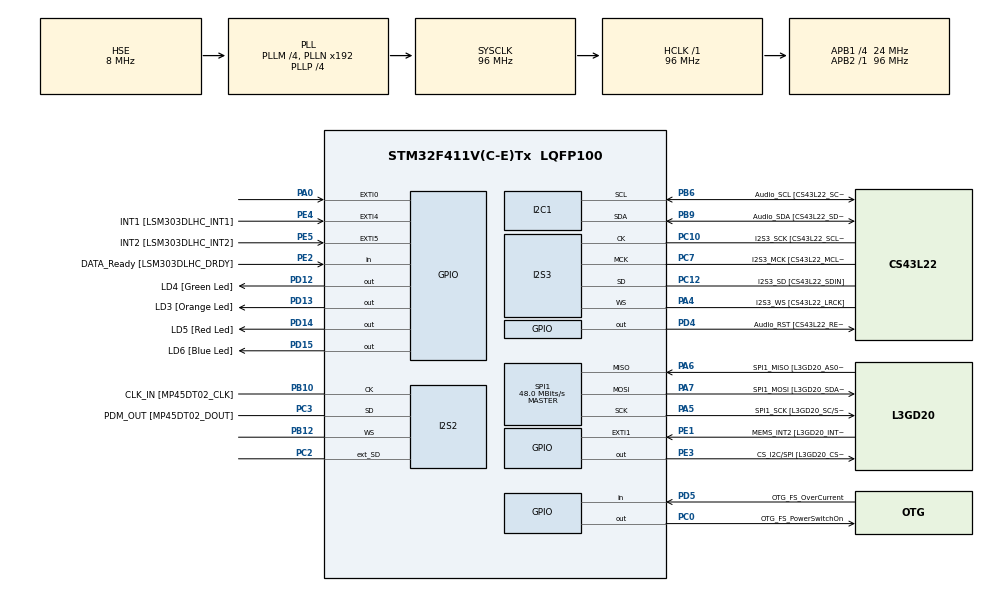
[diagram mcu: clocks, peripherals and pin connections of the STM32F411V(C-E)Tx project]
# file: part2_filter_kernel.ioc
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I2S2.AudioFreq=I2S_AUDIOFREQ_96K
I2S2.ErrorAudioFreq=0.15 %
I2S2.FullDuplexMode=I2S_FULLDUPLEXMODE_ENABLE
I2S2.Instance=SPI$Index
I2S2.RealAudioFreq=96.153 KHz
I2S2.VirtualMode=I2S_MODE_MASTER
I2S3.AudioFreq=I2S_AUDIOFREQ_96K
I2S3.ErrorAudioFreq=-6.99 %
I2S3.FullDuplexMode=I2S_FULLDUPLEXMODE_DISABLE
I2S3.Instance=SPI$Index
I2S3.RealAudioFreq=89.285 KHz
I2S3.VirtualMode=I2S_MODE_MASTER
Mcu.Family=STM32F4
Mcu.Name=STM32F411V(C-E)Tx
Mcu.Package=LQFP100
NVIC.PriorityGroup=NVIC_PRIORITYGROUP_0
PA0-WKUP.GPIO_ModeDefaultEXTI=GPIO_MODE_EVT_RISING
PA0-WKUP.Signal=GPXTI0
PA10.GPIO_Label=OTG_FS_ID
PA10.Signal=USB_OTG_FS_ID
PA11.GPIO_Label=OTG_FS_DM
PA11.Signal=USB_OTG_FS_DM
PA12.GPIO_Label=OTG_FS_DP
PA12.Signal=USB_OTG_FS_DP
PA13.GPIO_Label=SWDIO
PA13.Mode=Serial_Wire
PA13.Signal=SYS_JTMS-SWDIO
PA14.GPIO_Label=SWCLK
PA14.Mode=Serial_Wire
PA14.Signal=SYS_JTCK-SWCLK
PA4.GPIO_Label=I2S3_WS [CS43L22_LRCK]
PA4.GPIO_Mode=GPIO_MODE_AF_PP
PA4.GPIO_PuPd=GPIO_NOPULL
PA4.GPIO_Speed=GPIO_SPEED_FREQ_LOW
PA4.Mode=Half_Duplex_Master
PA4.Signal=I2S3_WS
PA5.GPIO_Label=SPI1_SCK [L3GD20_SC/SPC]
PA5.Mode=Full_Duplex_Master
PA5.Signal=SPI1_SCK
PA6.GPIO_Label=SPI1_MISO [L3GD20_AS0/SDO]
PA6.Mode=Full_Duplex_Master
PA6.Signal=SPI1_MISO
PA7.GPIO_Label=SPI1_MOSI [L3GD20_SDA/SDI/SDO]
PA7.Mode=Full_Duplex_Master
PA7.Signal=SPI1_MOSI
PA9.GPIO_Label=VBUS_FS
PA9.Signal=USB_OTG_FS_VBUS
PB10.GPIO_Label=CLK_IN [MP45DT02_CLK]
PB10.Mode=Full_Duplex_Master
PB10.Signal=I2S2_CK
PB12.Mode=Full_Duplex_Master
PB12.Signal=I2S2_WS
PB3.GPIO_Label=SWO
PB3.Signal=SYS_JTDO-SWO
PB6.GPIO_Label=Audio_SCL [CS43L22_SCL]
PB6.GPIO_Mode=GPIO_MODE_AF_OD
PB6.GPIO_Pu=GPIO_PULLUP
PB6.GPIO_PuPd=GPIO_NOPULL
PB6.GPIO_Speed=GPIO_SPEED_FREQ_LOW
PB6.Mode=I2C
PB6.Signal=I2C1_SCL
PB9.GPIO_Label=Audio_SDA [CS43L22_SDA]
PB9.GPIO_Mode=GPIO_MODE_AF_OD
PB9.GPIO_Pu=GPIO_PULLUP
PB9.GPIO_PuPd=GPIO_NOPULL
PB9.GPIO_Speed=GPIO_SPEED_FREQ_LOW
PB9.Mode=I2C
PB9.Signal=I2C1_SDA
PC0.GPIO_Label=OTG_FS_PowerSwitchOn
PC0.PinState=GPIO_PIN_SET
PC0.Signal=GPIO_Output
PC10.GPIO_Label=I2S3_SCK [CS43L22_SCLK]
PC10.GPIO_Mode=GPIO_MODE_AF_PP
PC10.GPIO_PuPd=GPIO_NOPULL
PC10.GPIO_Speed=GPIO_SPEED_FREQ_LOW
PC10.Mode=Half_Duplex_Master
PC10.Signal=I2S3_CK
PC12.GPIO_Label=I2S3_SD [CS43L22_SDIN]
PC12.GPIO_Mode=GPIO_MODE_AF_PP
PC12.GPIO_PuPd=GPIO_NOPULL
PC12.GPIO_Speed=GPIO_SPEED_FREQ_LOW
PC12.Mode=Half_Duplex_Master
PC12.Signal=I2S3_SD
PC14-OSC32_IN.GPIO_Label=PC14-OSC32_IN
PC14-OSC32_IN.Mode=LSE-External-Oscillator
PC14-OSC32_IN.Signal=RCC_OSC32_IN
PC15-OSC32_OUT.GPIO_Label=PC15-OSC32_OUT
PC15-OSC32_OUT.Mode=LSE-External-Oscillator
PC15-OSC32_OUT.Signal=RCC_OSC32_OUT
PC2.Mode=Full_Duplex_Master
PC2.Signal=I2S2_ext_SD
PC3.GPIO_Label=PDM_OUT [MP45DT02_DOUT]
PC3.Mode=Full_Duplex_Master
PC3.Signal=I2S2_SD
PC7.GPIO_Label=I2S3_MCK [CS43L22_MCLK]
PC7.GPIO_Mode=GPIO_MODE_AF_PP
PC7.GPIO_PuPd=GPIO_NOPULL
PC7.GPIO_Speed=GPIO_SPEED_FREQ_LOW
PC7.Mode=Master_Clock_Activated
PC7.Signal=I2S3_MCK
PD12.GPIO_Label=LD4 [Green Led]
PD12.GPIO_PuPd=GPIO_NOPULL
PD12.GPIO_Speed=GPIO_SPEED_FREQ_LOW
PD12.Signal=GPIO_Output
PD13.GPIO_Label=LD3 [Orange Led]
PD13.GPIO_PuPd=GPIO_NOPULL
PD13.GPIO_Speed=GPIO_SPEED_FREQ_LOW
PD13.Signal=GPIO_Output
PD14.GPIO_Label=LD5 [Red Led]
PD14.GPIO_PuPd=GPIO_NOPULL
PD14.GPIO_Speed=GPIO_SPEED_FREQ_LOW
PD14.Signal=GPIO_Output
PD15.GPIO_Label=LD6 [Blue Led]
PD15.GPIO_PuPd=GPIO_NOPULL
PD15.GPIO_Speed=GPIO_SPEED_FREQ_LOW
PD15.Signal=GPIO_Output
PD4.GPIO_Label=Audio_RST [CS43L22_RESET]
PD4.Signal=GPIO_Output
PD5.GPIO_Label=OTG_FS_OverCurrent
PD5.Signal=GPIO_Input
PE1.GPIO_Label=MEMS_INT2 [L3GD20_INT2]
PE1.GPIO_ModeDefaultEXTI=GPIO_MODE_EVT_RISING
PE1.Signal=GPXTI1
PE2.GPIO_Label=DATA_Ready [LSM303DLHC_DRDY]
PE2.Signal=GPIO_Input
PE3.GPIO_Label=CS_I2C/SPI [L3GD20_CS_I2C/SPI]
PE3.Signal=GPIO_Output
PE4.GPIO_Label=INT1 [LSM303DLHC_INT1]
PE4.GPIO_ModeDefaultEXTI=GPIO_MODE_EVT_RISING
PE4.Signal=GPXTI4
PE5.GPIO_Label=INT2 [LSM303DLHC_INT2]
PE5.GPIO_ModeDefaultEXTI=GPIO_MODE_EVT_RISING
PE5.Signal=GPXTI5
PH0\ -\ OSC_IN.GPIO_Label=PH0-OSC_IN
PH0\ -\ OSC_IN.Mode=HSE-External-Oscillator
PH0\ -\ OSC_IN.Signal=RCC_OSC_IN
PH1\ -\ OSC_OUT.GPIO_Label=PH1-OSC_OUT
PH1\ -\ OSC_OUT.Mode=HSE-External-Oscillator
PH1\ -\ OSC_OUT.Signal=RCC_OSC_OUT
ProjectManager.HeapSize=0x200
ProjectManager.StackSize=0x400
ProjectManager.TargetToolchain=STM32CubeIDE
RCC.48MHZClocksFreq_Value=48000000
RCC.AHBFreq_Value=96000000
RCC.APB1CLKDivider=RCC_HCLK_DIV4
RCC.APB1Freq_Value=24000000
RCC.APB1TimFreq_Value=48000000
RCC.APB2Freq_Value=96000000
RCC.APB2TimFreq_Value=96000000
RCC.CortexFreq_Value=96000000
RCC.HCLKFreq_Value=96000000
RCC.HSE_VALUE=8000000
RCC.HSI_VALUE=16000000
RCC.PLLI2SM=5
RCC.PLLI2SN=200
RCC.PLLM=4
RCC.PLLP=RCC_PLLP_DIV4
RCC.PLLQ=8
RCC.PLLSourceVirtual=RCC_PLLSOURCE_HSE
RCC.SYSCLKFreq_VALUE=96000000
RCC.SYSCLKSource=RCC_SYSCLKSOURCE_PLLCLK
RCC.VCOOutputFreq_Value=384000000
SPI1.BaudRatePrescaler=SPI_BAUDRATEPRESCALER_2
SPI1.CalculateBaudRate=48.0 MBits/s
SPI1.Direction=SPI_DIRECTION_2LINES
SPI1.Mode=SPI_MODE_MASTER
SPI1.VirtualType=VM_MASTER
board=STM32F411E-DISCO

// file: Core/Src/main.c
/* USER CODE BEGIN Header */
/**
  ******************************************************************************
  * @file           : main.c
  * @brief          : Main program body
  ******************************************************************************
  * @attention
  *
  * Copyright (c) 2025 STMicroelectronics.
  * All rights reserved.
  *
  * This software is licensed under terms that can be found in the LICENSE file
  * in the root directory of this software component.
  * If no LICENSE file comes with this software, it is provided AS-IS.
  *
  ******************************************************************************
  */
/* USER CODE END Header */
#include "main.h"
#include "usb_host.h"

/* USER CODE BEGIN PD */
#define OPTIMIZED 1
/* USER CODE END PD */

I2C_HandleTypeDef hi2c1;

I2S_HandleTypeDef hi2s2;
I2S_HandleTypeDef hi2s3;

SPI_HandleTypeDef hspi1;

/* USER CODE BEGIN PV */
volatile int8_t *raw_data = 0x802002C;
int8_t kernel[3][3] = {
  { 0, -1, 0 },
  { -1, 5, -1 },
  { 0, -1, 0 }
};
/* USER CODE END PV */

void SystemClock_Config(void);
void PeriphCommonClock_Config(void);
static void MX_GPIO_Init(void);
static void MX_I2C1_Init(void);
static void MX_I2S2_Init(void);
static void MX_I2S3_Init(void);
static void MX_SPI1_Init(void);
void MX_USB_HOST_Process(void);

/* USER CODE BEGIN PFP */
void image_filter();
void optimized_image_filter();
/* USER CODE END PFP */

int main(void)
{

  /* MCU Configuration--------------------------------------------------------*/

  /* Reset of all peripherals, Initializes the Flash interface and the Systick. */
  HAL_Init();

  /* Configure the system clock */
  SystemClock_Config();

  /* Configure the peripherals common clocks */
  PeriphCommonClock_Config();

  /* Initialize all configured peripherals */
  MX_GPIO_Init();
  MX_I2C1_Init();
  MX_I2S2_Init();
  MX_I2S3_Init();
  MX_SPI1_Init();
  MX_USB_HOST_Init();
  /* USER CODE BEGIN 2 */
  #ifdef OPTIMIZED
  optimized_image_filter();
  #endif

  #ifndef
  image_filter();
  #endif
  /* USER CODE END 2 */

  /* Infinite loop */
  while (1)
  {
    MX_USB_HOST_Process();

  }
}

void SystemClock_Config(void)
{
  RCC_OscInitTypeDef RCC_OscInitStruct = {0};
  RCC_ClkInitTypeDef RCC_ClkInitStruct = {0};

  /** Configure the main internal regulator output voltage
  */
  __HAL_RCC_PWR_CLK_ENABLE();
  __HAL_PWR_VOLTAGESCALING_CONFIG(PWR_REGULATOR_VOLTAGE_SCALE1);

  /** Initializes the RCC Oscillators according to the specified parameters
  * in the RCC_OscInitTypeDef structure.
  */
  RCC_OscInitStruct.OscillatorType = RCC_OSCILLATORTYPE_HSE;
  RCC_OscInitStruct.HSEState = RCC_HSE_BYPASS;
  RCC_OscInitStruct.PLL.PLLState = RCC_PLL_ON;
  RCC_OscInitStruct.PLL.PLLSource = RCC_PLLSOURCE_HSE;
  RCC_OscInitStruct.PLL.PLLM = 4;
  RCC_OscInitStruct.PLL.PLLN = 192;
  RCC_OscInitStruct.PLL.PLLP = RCC_PLLP_DIV4;
  RCC_OscInitStruct.PLL.PLLQ = 8;
  if (HAL_RCC_OscConfig(&RCC_OscInitStruct) != HAL_OK)
  {
    Error_Handler();
  }

  /** Initializes the CPU, AHB and APB buses clocks
  */
  RCC_ClkInitStruct.ClockType = RCC_CLOCKTYPE_HCLK|RCC_CLOCKTYPE_SYSCLK
                              |RCC_CLOCKTYPE_PCLK1|RCC_CLOCKTYPE_PCLK2;
  RCC_ClkInitStruct.SYSCLKSource = RCC_SYSCLKSOURCE_PLLCLK;
  RCC_ClkInitStruct.AHBCLKDivider = RCC_SYSCLK_DIV1;
  RCC_ClkInitStruct.APB1CLKDivider = RCC_HCLK_DIV4;
  RCC_ClkInitStruct.APB2CLKDivider = RCC_HCLK_DIV1;

  if (HAL_RCC_ClockConfig(&RCC_ClkInitStruct, FLASH_LATENCY_3) != HAL_OK)
  {
    Error_Handler();
  }
}

void PeriphCommonClock_Config(void)
{
  RCC_PeriphCLKInitTypeDef PeriphClkInitStruct = {0};

  /** Initializes the peripherals clock
  */
  PeriphClkInitStruct.PeriphClockSelection = RCC_PERIPHCLK_I2S;
  PeriphClkInitStruct.PLLI2S.PLLI2SN = 200;
  PeriphClkInitStruct.PLLI2S.PLLI2SM = 5;
  PeriphClkInitStruct.PLLI2S.PLLI2SR = 2;
  if (HAL_RCCEx_PeriphCLKConfig(&PeriphClkInitStruct) != HAL_OK)
  {
    Error_Handler();
  }
}

static void MX_I2C1_Init(void)
{

  hi2c1.Instance = I2C1;
  hi2c1.Init.ClockSpeed = 100000;
  hi2c1.Init.DutyCycle = I2C_DUTYCYCLE_2;
  hi2c1.Init.OwnAddress1 = 0;
  hi2c1.Init.AddressingMode = I2C_ADDRESSINGMODE_7BIT;
  hi2c1.Init.DualAddressMode = I2C_DUALADDRESS_DISABLE;
  hi2c1.Init.OwnAddress2 = 0;
  hi2c1.Init.GeneralCallMode = I2C_GENERALCALL_DISABLE;
  hi2c1.Init.NoStretchMode = I2C_NOSTRETCH_DISABLE;
  if (HAL_I2C_Init(&hi2c1) != HAL_OK)
  {
    Error_Handler();
  }

}

static void MX_I2S2_Init(void)
{

  hi2s2.Instance = SPI2;
  hi2s2.Init.Mode = I2S_MODE_MASTER_TX;
  hi2s2.Init.Standard = I2S_STANDARD_PHILIPS;
  hi2s2.Init.DataFormat = I2S_DATAFORMAT_16B;
  hi2s2.Init.MCLKOutput = I2S_MCLKOUTPUT_DISABLE;
  hi2s2.Init.AudioFreq = I2S_AUDIOFREQ_96K;
  hi2s2.Init.CPOL = I2S_CPOL_LOW;
  hi2s2.Init.ClockSource = I2S_CLOCK_PLL;
  hi2s2.Init.FullDuplexMode = I2S_FULLDUPLEXMODE_ENABLE;
  if (HAL_I2S_Init(&hi2s2) != HAL_OK)
  {
    Error_Handler();
  }

}

static void MX_I2S3_Init(void)
{

  hi2s3.Instance = SPI3;
  hi2s3.Init.Mode = I2S_MODE_MASTER_TX;
  hi2s3.Init.Standard = I2S_STANDARD_PHILIPS;
  hi2s3.Init.DataFormat = I2S_DATAFORMAT_16B;
  hi2s3.Init.MCLKOutput = I2S_MCLKOUTPUT_ENABLE;
  hi2s3.Init.AudioFreq = I2S_AUDIOFREQ_96K;
  hi2s3.Init.CPOL = I2S_CPOL_LOW;
  hi2s3.Init.ClockSource = I2S_CLOCK_PLL;
  hi2s3.Init.FullDuplexMode = I2S_FULLDUPLEXMODE_DISABLE;
  if (HAL_I2S_Init(&hi2s3) != HAL_OK)
  {
    Error_Handler();
  }

}

static void MX_SPI1_Init(void)
{

  /* SPI1 parameter configuration*/
  hspi1.Instance = SPI1;
  hspi1.Init.Mode = SPI_MODE_MASTER;
  hspi1.Init.Direction = SPI_DIRECTION_2LINES;
  hspi1.Init.DataSize = SPI_DATASIZE_8BIT;
  hspi1.Init.CLKPolarity = SPI_POLARITY_LOW;
  hspi1.Init.CLKPhase = SPI_PHASE_1EDGE;
  hspi1.Init.NSS = SPI_NSS_SOFT;
  hspi1.Init.BaudRatePrescaler = SPI_BAUDRATEPRESCALER_2;
  hspi1.Init.FirstBit = SPI_FIRSTBIT_MSB;
  hspi1.Init.TIMode = SPI_TIMODE_DISABLE;
  hspi1.Init.CRCCalculation = SPI_CRCCALCULATION_DISABLE;
  hspi1.Init.CRCPolynomial = 10;
  if (HAL_SPI_Init(&hspi1) != HAL_OK)
  {
    Error_Handler();
  }

}

static void MX_GPIO_Init(void)
{
  GPIO_InitTypeDef GPIO_InitStruct = {0};

  /* GPIO Ports Clock Enable */
  __HAL_RCC_GPIOE_CLK_ENABLE();
  __HAL_RCC_GPIOC_CLK_ENABLE();
  __HAL_RCC_GPIOH_CLK_ENABLE();
  __HAL_RCC_GPIOA_CLK_ENABLE();
  __HAL_RCC_GPIOB_CLK_ENABLE();
  __HAL_RCC_GPIOD_CLK_ENABLE();

  /*Configure GPIO pin Output Level */
  HAL_GPIO_WritePin(CS_I2C_SPI_GPIO_Port, CS_I2C_SPI_Pin, GPIO_PIN_RESET);

  /*Configure GPIO pin Output Level */
  HAL_GPIO_WritePin(OTG_FS_PowerSwitchOn_GPIO_Port, OTG_FS_PowerSwitchOn_Pin, GPIO_PIN_SET);

  /*Configure GPIO pin Output Level */
  HAL_GPIO_WritePin(GPIOD, LD4_Pin|LD3_Pin|LD5_Pin|LD6_Pin
                          |Audio_RST_Pin, GPIO_PIN_RESET);

  /*Configure GPIO pin : DATA_Ready_Pin */
  GPIO_InitStruct.Pin = DATA_Ready_Pin;
  GPIO_InitStruct.Mode = GPIO_MODE_INPUT;
  GPIO_InitStruct.Pull = GPIO_NOPULL;
  HAL_GPIO_Init(DATA_Ready_GPIO_Port, &GPIO_InitStruct);

  /*Configure GPIO pin : CS_I2C_SPI_Pin */
  GPIO_InitStruct.Pin = CS_I2C_SPI_Pin;
  GPIO_InitStruct.Mode = GPIO_MODE_OUTPUT_PP;
  GPIO_InitStruct.Pull = GPIO_NOPULL;
  GPIO_InitStruct.Speed = GPIO_SPEED_FREQ_LOW;
  HAL_GPIO_Init(CS_I2C_SPI_GPIO_Port, &GPIO_InitStruct);

  /*Configure GPIO pins : INT1_Pin INT2_Pin MEMS_INT2_Pin */
  GPIO_InitStruct.Pin = INT1_Pin|INT2_Pin|MEMS_INT2_Pin;
  GPIO_InitStruct.Mode = GPIO_MODE_EVT_RISING;
  GPIO_InitStruct.Pull = GPIO_NOPULL;
  HAL_GPIO_Init(GPIOE, &GPIO_InitStruct);

  /*Configure GPIO pin : OTG_FS_PowerSwitchOn_Pin */
  GPIO_InitStruct.Pin = OTG_FS_PowerSwitchOn_Pin;
  GPIO_InitStruct.Mode = GPIO_MODE_OUTPUT_PP;
  GPIO_InitStruct.Pull = GPIO_NOPULL;
  GPIO_InitStruct.Speed = GPIO_SPEED_FREQ_LOW;
  HAL_GPIO_Init(OTG_FS_PowerSwitchOn_GPIO_Port, &GPIO_InitStruct);

  /*Configure GPIO pin : PA0 */
  GPIO_InitStruct.Pin = GPIO_PIN_0;
  GPIO_InitStruct.Mode = GPIO_MODE_EVT_RISING;
  GPIO_InitStruct.Pull = GPIO_NOPULL;
  HAL_GPIO_Init(GPIOA, &GPIO_InitStruct);

  /*Configure GPIO pins : LD4_Pin LD3_Pin LD5_Pin LD6_Pin
                           Audio_RST_Pin */
  GPIO_InitStruct.Pin = LD4_Pin|LD3_Pin|LD5_Pin|LD6_Pin
                          |Audio_RST_Pin;
  GPIO_InitStruct.Mode = GPIO_MODE_OUTPUT_PP;
  GPIO_InitStruct.Pull = GPIO_NOPULL;
  GPIO_InitStruct.Speed = GPIO_SPEED_FREQ_LOW;
  HAL_GPIO_Init(GPIOD, &GPIO_InitStruct);

  /*Configure GPIO pin : OTG_FS_OverCurrent_Pin */
  GPIO_InitStruct.Pin = OTG_FS_OverCurrent_Pin;
  GPIO_InitStruct.Mode = GPIO_MODE_INPUT;
  GPIO_InitStruct.Pull = GPIO_NOPULL;
  HAL_GPIO_Init(OTG_FS_OverCurrent_GPIO_Port, &GPIO_InitStruct);

}

/* USER CODE BEGIN 4 */
void image_filter() {
  int8_t *data = (int8_t *)raw_data;
  int8_t *filtered_data = (int8_t *)0x802002C + (192 * 192 * 3);
  int width = 192;  // Example width, adjust as needed
  int height = 192; // Example height, adjust as needed
  int channels = 3; // RGB

  for (int y = 1; y < height - 1; y++) {
      for (int x = 1; x < width - 1; x++) {
          for (int c = 0; c < channels; c++) {
              int sum = 0;
              for (int ky = -1; ky <= 1; ky++) {
                  for (int kx = -1; kx <= 1; kx++) {
                    sum += data[((y + ky) * width + (x + kx)) * channels + c] * kernel[ky + 1][kx + 1];
                  }
              }
              // Clamp the result to the valid range [0, 255]
              if (sum < 0) sum = 0;
              if (sum > 255) sum = 255;
              filtered_data[(y * width + x) * channels + c] = (int8_t)sum;
          }
      }
  }
}

void optimized_image_filter() {
  register int8_t *data = (uint8_t *)raw_data;
  register int8_t *filtered_data = (uint8_t *)0x802002C + (192 * 192 * 3);
  register uint16_t width = 192;  // Example width, adjust as needed
  register uint16_t height = 192; // Example height, adjust as needed
  register uint16_t channels = 3; // RGB

  for (register uint16_t y = 1; y < height - 1; y++) {
      for (register uint16_t x = 1; x < width - 1; x++) {
          for (register uint8_t c = 0; c < channels; c++) {
            register int16_t sum = 0;
              for (register uint8_t ky = -1; ky <= 1; ky++) {
                  for (register uint8_t kx = -1; kx <= 1; kx++) {
                    register uint16_t yy = y + ky;
                    register uint16_t xx = x + kx;
                    register uint16_t iChannel = (uint16_t) c;

                    __asm volatile (
                      "SMLAD %[xx], %[yy], %[width], %[xx]"
                      "SMLAD %[iChannel], %[xx], %[iChannel], %[iChannel]"
                      "SMLABB %[sum], %[data], %[kernel], %[sum]"
                      : [sum] "+r" (sum)
                        [xx] "+r" (xx),
                        [iChannel] "+r" (iChannel)
                      : [data] "r" (data[iChannel]),
                        [kernel] "r" (kernel[ky + 1][kx + 1])
                        [yy] "r" (yy), [width] "r" (width)
                    );
                  }
              }
              // Clamp the result to the valid range [0, 255]
              if (sum < 0) sum = 0;
              if (sum > 255) sum = 255;
              register uint16_t oChannel = c;
              __asm volatile (
                "SMLAD %[x], %[y], %[width], %[x]"
                "SMLAD %[oChannel], %[x], %[oChannel], %[oChannel]"
                : [x] "+r" (x),
                  [oChannel] "+r" (oChannel)
                : [y] "r" (y), [width] "r" (width), [channels] "r" (channels)
              );
              filtered_data[oChannel] = (int8_t)sum;
          }
      }
  }
}
/* USER CODE END 4 */

void Error_Handler(void)
{
  __disable_irq();
  while (1)
  {
  }
}
